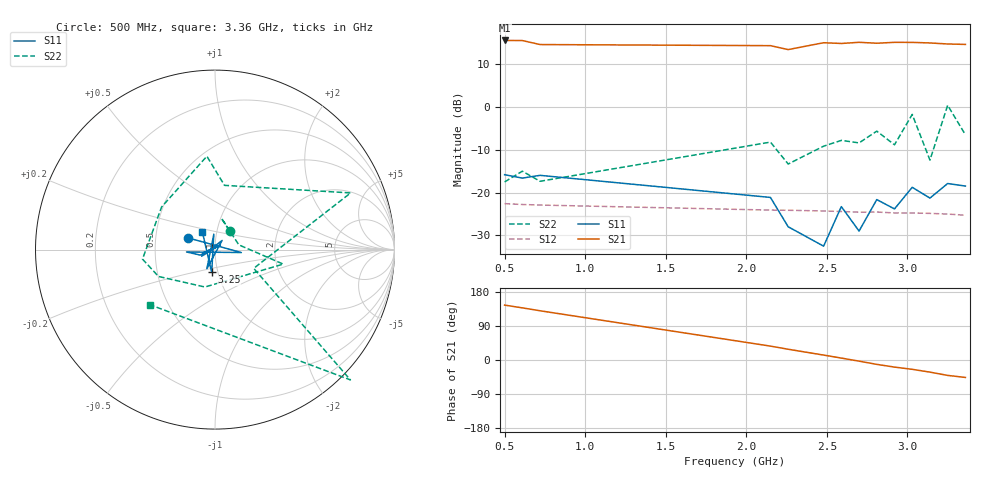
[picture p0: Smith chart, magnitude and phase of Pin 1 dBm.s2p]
! RsaToolbox (C) 2015 Rohde & Schwarz America
! Number of points: 14
! Number of ports: 2
! Balanced ports?: No
# Hz S RI R 50
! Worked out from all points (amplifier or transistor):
!   14 points, 500 MHz to 3.36 GHz, reference 50 ohm
!   highest |S21| = 15.5 dB at 500 MHz (marker M1)
!   |S21| within 3 dB of that: start of sweep to end of sweep
!   unconditionally stable (mu >= 1): start of sweep to 3.006 GHz; 3.045 GHz to 3.222 GHz; 3.298 GHz to end of sweep
!   at 720 MHz: K = 1.45, MAG = 14.8 dB, |S12| = -22.9 dB
!   at 2.7 GHz: K = 1.42, MAG = 16.0 dB, |S12| = -24.6 dB
!   at 3.36 GHz: K = 1.49, MAG = 15.8 dB, |S12| = -25.3 dB
!   S11 on the Smith chart (normalised r, x): 500 MHz: 0.74, +0.10; 3.25 GHz: 0.93, -0.24; 3.36 GHz: 0.85, +0.17
5e8  -0.1484 0.0646  -4.896 3.444  0.0646 -0.0367  0.0842 0.1034
6.1e8  0.1468 -0.0163  -4.411 4.028  0.0587 -0.0427  0.0358 0.1742
7.2e8  -0.1585 -0.0131  -3.44 4.113  0.048 -0.0531  0.1331 0.0262
2.15e9  -0.0823 -0.0305  4.175 3.107  -0.0491 -0.0386  0.3803 -0.0809
2.26e9  0.0304 0.0259  4.119 2.227  -0.0481 -0.0394  -0.056 -0.2084
2.48e9  0.0166 0.0169  5.488 1.264  -0.0515 -0.0328  -0.3146 -0.1498
2.59e9  -0.0659 -0.0193  5.498 0.4911  -0.0601 -0.00119  -0.4039 -0.053
2.7e9  0.0248 0.0254  5.686 -0.3016  -0.0548 -0.0219  -0.2975 0.2374
2.81e9  -0.0742 -0.037  5.444 -1.109  -0.0589 0.00687  -0.0453 0.5202
2.92e9  0.0395 0.0509  5.39 -1.826  -0.0579 1.21e-05  0.0528 0.358
3.03e9  -0.0453 -0.1061  5.168 -2.364  -0.0563 0.013  0.7556 0.3157
3.14e9  -0.00658 0.086  4.747 -2.967  -0.0557 0.0128  0.2157 -0.1044
3.25e9  -0.0184 -0.1264  4.13 -3.547  -0.0478 0.0295  0.7544 -0.7259
3.36e9  -0.0699 0.0965  3.736 -3.873  -0.0513 0.0182  -0.3611 -0.3076
